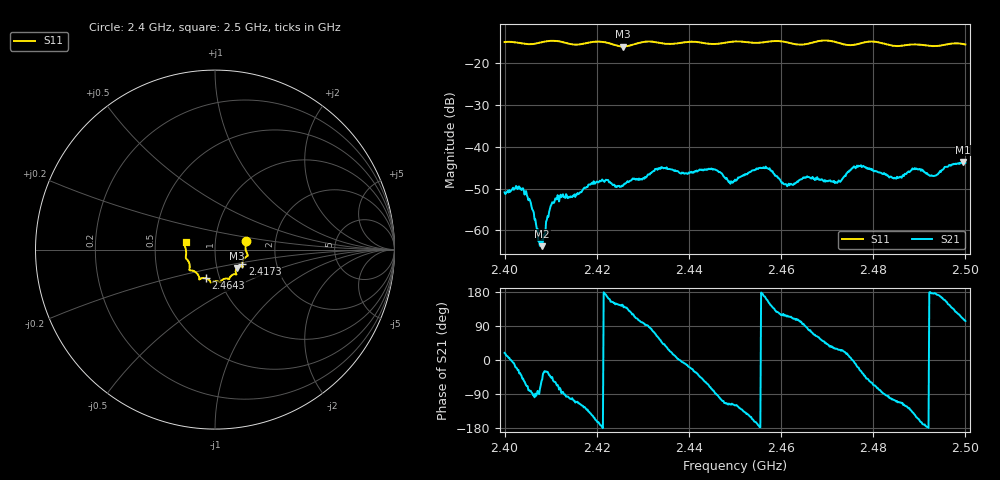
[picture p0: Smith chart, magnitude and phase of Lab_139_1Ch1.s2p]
# Hz S RI R 50
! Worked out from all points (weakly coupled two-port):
!   601 points, 2.4 GHz to 2.5 GHz, reference 50 ohm
!   highest |S21| = -43.64 dB at 2.4995 GHz (marker M1); lowest = -63.8 dB at 2.4082 GHz (marker M2)
!   lowest |S11| = -15.9 dB at 2.4257 GHz (marker M3), VSWR 1.38, Z = 62.4 - j13.1 ohm
!   |S11| at or under -10 dB: start of sweep to end of sweep
!   S12 and S22 are empty: the file has one direction only
!   S11 on the Smith chart (normalised r, x): 2.4 GHz: 1.41, +0.15; 2.4173 GHz: 1.34, -0.23; 2.4643 GHz: 0.86, -0.28; 2.5 GHz: 0.72, +0.06
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2.4e9  0.1733 0.0499  0.0027 0.000917  0 0  0 0
2.404333e9  0.1708 0.0217  0.00145 -0.00225  0 0  0 0
2.407667e9  0.1767 -0.0175  0.000156 -0.000631  0 0  0 0
2.408167e9  0.1788 -0.0224  0.00041 -0.000498  0 0  0 0
2.410667e9  0.1836 -0.0337  0.00117 -0.00177  0 0  0 0
2.416667e9  0.153 -0.0746  -0.00141 -0.00249  0 0  0 0
2.417333e9  0.1524 -0.0822  -0.00181 -0.00271  0 0  0 0
2.425667e9  0.1223 -0.1023  -0.00277 0.00198  0 0  0 0
2.433333e9  0.113 -0.1369  0.00281 0.00477  0 0  0 0
2.445333e9  0.0527 -0.1626  0.000885 -0.00533  0 0  0 0
2.45e9  0.0298 -0.181  -0.00202 -0.00351  0 0  0 0
2.456167e9  -0.00795 -0.1789  -0.00562 0.000961  0 0  0 0
2.461e9  -0.0261 -0.1785  -0.00169 0.00316  0 0  0 0
2.464333e9  -0.0501 -0.1603  -0.000798 0.00401  0 0  0 0
2.466667e9  -0.0762 -0.1599  0.00124 0.00401  0 0  0 0
2.4725e9  -0.0889 -0.1518  0.00353 0.00179  0 0  0 0
2.476833e9  -0.1255 -0.1171  0.00558 -0.00205  0 0  0 0
2.483333e9  -0.1409 -0.0892  -0.00043 -0.0044  0 0  0 0
2.489e9  -0.1626 -0.0464  -0.00451 -0.00325  0 0  0 0
2.493333e9  -0.1612 -0.01  -0.0045 0.000265  0 0  0 0
2.4995e9  -0.1665 0.0393  -0.00216 0.00621  0 0  0 0
2.5e9  -0.1636 0.0423  -0.00143 0.00625  0 0  0 0
